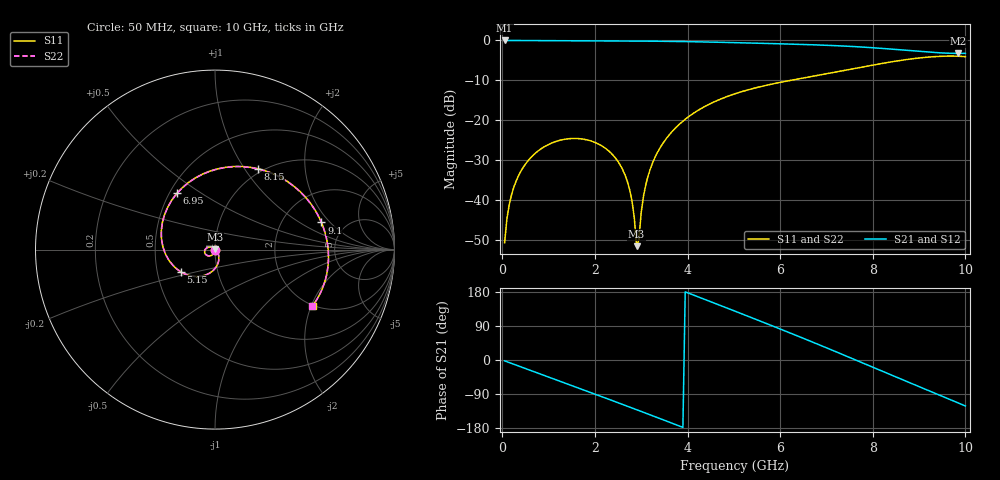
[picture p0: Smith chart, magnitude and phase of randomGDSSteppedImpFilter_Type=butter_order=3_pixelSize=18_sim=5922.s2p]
! freq	dB(S11)	phase(S11)	dB(S12)	phase(S12)
!  dB(S21)	phase(S21)	dB(S22)	phase(S22)
!S-par simulation data
#  GHz  S  DB  R 50
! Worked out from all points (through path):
!   200 points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, 50 MHz to 10 GHz, reference 50 ohm
!   highest |S21| = 0.00 dB at 50 MHz (marker M1); lowest = -3.2 dB at 9.85 GHz (marker M2)
!   group delay of S21, straight-line fit = 134 ps
!   lowest |S11| = -51.4 dB at 2.9 GHz (marker M3), VSWR 1.01, Z = 50 + j0.268 ohm
!   |S11| at or under -10 dB: start of sweep to 6.214 GHz
!   |S22| runs from -50.5 to -3.9 dB; largest |S21 - S12| = 0
!   S11 on the Smith chart (normalised r, x): 50 MHz: 1.00, -0.01; 5.15 GHz: 0.66, -0.17; 6.95 GHz: 0.55, +0.40; 8.15 GHz: 0.94, +1.15; 9.1 GHz: 3.32, +1.61; 10 GHz: 1.98, -2.04
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0.05  -50.54 -91.2  -0.00 -2.3  -0.00 -2.3  -50.54 -91.2
0.2  -38.56 -99.0  -0.00 -9.1  -0.00 -9.1  -38.56 -99.0
0.5  -30.90 -112.9  -0.02 -22.6  -0.02 -22.6  -30.90 -113.0
1.05  -25.72 -138.4  -0.06 -47.3  -0.06 -47.3  -25.72 -138.5
1.75  -24.67 -170.7  -0.10 -78.7  -0.10 -78.7  -24.67 -171.1
2.6  -32.31 147.4  -0.14 -117.3  -0.14 -117.3  -32.29 145.8
2.8  -40.08 131.0  -0.15 -126.5  -0.15 -126.5  -39.95 127.2
2.9  -51.42 86.8  -0.15 -131.1  -0.15 -131.1  -49.75 79.0
3.1  -35.99 -43.3  -0.17 -140.4  -0.17 -140.4  -35.93 -40.8
3.4  -26.97 -62.1  -0.20 -154.3  -0.20 -154.3  -26.97 -61.2
4.2  -17.66 -101.4  -0.34 168.1  -0.34 168.1  -17.66 -101.2
5.05  -13.23 -142.2  -0.55 127.7  -0.55 127.7  -13.23 -142.3
5.15  -12.87 -147.0  -0.58 122.9  -0.58 122.9  -12.87 -147.1
5.9  -10.72 176.5  -0.81 86.8  -0.81 86.8  -10.72 176.2
6.7  -8.96 136.6  -1.08 47.3  -1.08 47.3  -8.96 136.0
6.95  -8.43 123.8  -1.18 34.8  -1.18 34.8  -8.43 123.3
7.55  -7.14 93.0  -1.50 4.2  -1.50 4.2  -7.14 92.4
8.15  -5.85 62.2  -1.94 -26.8  -1.94 -26.8  -5.85 61.6
8.35  -5.45 52.0  -2.12 -37.1  -2.12 -37.1  -5.45 51.4
9.1  -4.26 14.3  -2.82 -75.3  -2.82 -75.3  -4.26 13.8
9.85  -3.95 -22.4  -3.24 -113.5  -3.24 -113.5  -3.94 -22.7
10  -4.05 -29.9  -3.22 -121.4  -3.22 -121.4  -4.05 -30.1
